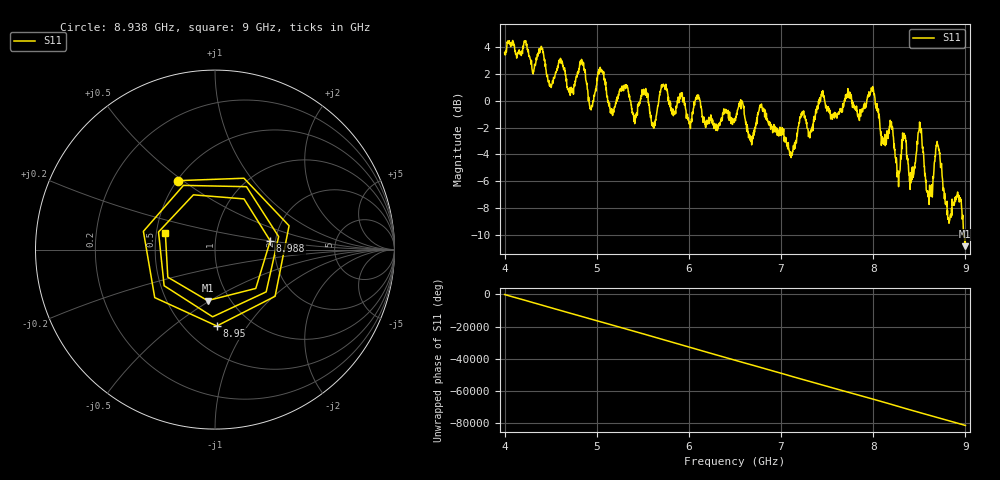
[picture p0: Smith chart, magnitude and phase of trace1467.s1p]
! Created with skrf 1.8.0 (http://scikit-rf.org).
# Hz S RI R 50.0
!freq ReS11 ImS11
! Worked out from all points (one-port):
!   1601 points, 4 GHz to 9 GHz, reference 50 ohm
!   lowest |S11| = -10.8 dB at 8.994 GHz (marker M1), VSWR 1.81, Z = 39.4 - j24.4 ohm
!   |S11| at or under -10 dB: 8.986645 GHz to end of sweep
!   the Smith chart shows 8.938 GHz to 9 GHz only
!   S11 on the Smith chart (normalised r, x): 8.938 GHz: 0.51, +0.48; 8.95 GHz: 0.70, -0.73; 8.988 GHz: 1.88, +0.20; 9 GHz: 0.56, +0.11
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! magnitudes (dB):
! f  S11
! 4 GHz  3.6
! 4.625 GHz  2.9
! 4.722 GHz  1.0
! 4.844 GHz  2.7
! 4.934 GHz  -0.5
! 5.041 GHz  2.2
! 5.159 GHz  -0.9
! 5.25 GHz  0.7
! 5.616 GHz  -1.8
! 5.875 GHz  0.0
! 6.5 GHz  -1.3
! 6.681 GHz  -3.3
! 6.794 GHz  -0.5
! 7.125 GHz  -3.8
! 7.438 GHz  0.5
! 7.75 GHz  0.6
! 7.994 GHz  1.1
! 8.106 GHz  -2.9
! 8.375 GHz  -4.3
! 8.503 GHz  -1.6
! 8.6 GHz  -6.8
! 8.697 GHz  -3.3
! 8.809 GHz  -8.8
! 8.938 GHz  -7.2
! 8.95 GHz  -7.4
! 8.988 GHz  -10.1
! 8.994 GHz  -10.8
! 9 GHz  -10.7
